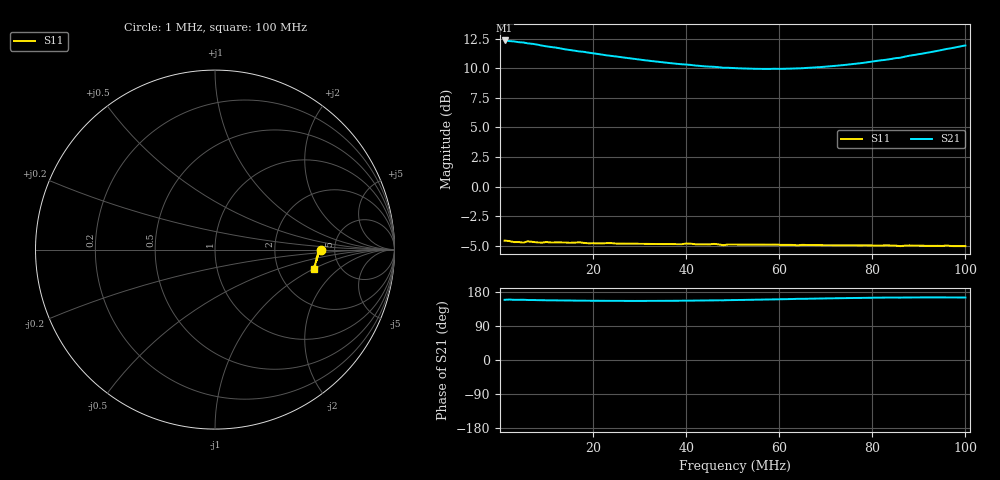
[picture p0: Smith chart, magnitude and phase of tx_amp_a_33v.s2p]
# HZ S RI R 50
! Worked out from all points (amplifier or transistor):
!   100 points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, 1 MHz to 100 MHz, reference 50 ohm
!   highest |S21| = 12.3 dB at 1 MHz (marker M1)
!   |S21| within 3 dB of that: start of sweep to end of sweep
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1000001  0.5923 -0.00176  -3.863 1.491  0 0  0 0
2000001  0.5894 -0.00189  -3.856 1.44  0 0  0 0
3000001  0.5837 -0.00172  -3.826 1.482  0 0  0 0
5000001  0.5807 -0.0101  -3.792 1.452  0 0  0 0
6000001  0.5876 -0.0121  -3.74 1.489  0 0  0 0
8000001  0.5818 -0.00943  -3.687 1.493  0 0  0 0
1e7  0.5839 -0.00984  -3.613 1.493  0 0  0 0
1.8e7  0.5791 -0.0186  -3.4 1.479  0 0  0 0
2.3e7  0.5777 -0.0213  -3.274 1.451  0 0  0 0
3.4e7  0.5721 -0.0289  -3.077 1.367  0 0  0 0
4.4e7  0.5698 -0.0394  -2.966 1.254  0 0  0 0
4.8e7  0.5644 -0.0483  -2.935 1.213  0 0  0 0
5.1e7  0.568 -0.0468  -2.937 1.169  0 0  0 0
6e7  0.5656 -0.0568  -2.957 1.061  0 0  0 0
6.3e7  0.5645 -0.0599  -2.98 1.029  0 0  0 0
6.4e7  0.5614 -0.067  -2.994 1.001  0 0  0 0
6.7e7  0.5635 -0.0646  -3.022 0.9901  0 0  0 0
7.4e7  0.561 -0.0728  -3.124 0.9393  0 0  0 0
8.4e7  0.5581 -0.0868  -3.336 0.9069  0 0  0 0
8.6e7  0.5535 -0.093  -3.376 0.9259  0 0  0 0
9.1e7  0.5551 -0.0953  -3.529 0.9317  0 0  0 0
1e8  0.5508 -0.1066  -3.809 1.028  0 0  0 0
